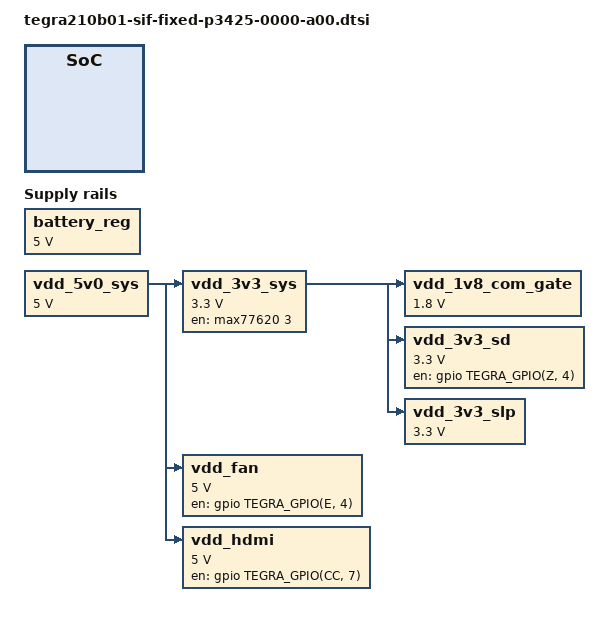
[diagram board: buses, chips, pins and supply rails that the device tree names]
/*
 * Copyright (c) 2018, NVIDIA CORPORATION.  All rights reserved.
 *
 * This program is free software; you can redistribute it and/or modify
 * it under the terms of the GNU General Public License as published by
 * the Free Software Foundation; either version 2 of the License, or
 * (at your option) any later version.
 *
 * This program is distributed in the hope that it will be useful, but WITHOUT
 * ANY WARRANTY; without even the implied warranty of MERCHANTABILITY or
 * FITNESS FOR A PARTICULAR PURPOSE.  See the GNU General Public License for
 * more details.
 *
 * You should have received a copy of the GNU General Public License along
 * with this program; if not, write to the Free Software Foundation, Inc.,
 * 51 Franklin Street, Fifth Floor, Boston, MA  02110-1301, USA.
 */

#include <dt-bindings/gpio/tegra-gpio.h>

/ {
	regulators {
		compatible = "simple-bus";
		device_type = "fixed-regulators";
		#address-cells = <1>;
		#size-cells = <0>;

		battery_reg: regulator@0 {
			compatible = "regulator-fixed";
			reg = <0>;
			regulator-name = "vdd-ac-bat";
			regulator-min-microvolt = <5000000>;
			regulator-max-microvolt = <5000000>;
			regulator-always-on;
		};

		vdd_5v0_sys: regulator@1 { /* DC 5V INPUT */
			compatible = "regulator-fixed-sync";
			reg = <1>;
			regulator-name = "vdd-5v0-sys";
			regulator-min-microvolt = <5000000>;
			regulator-max-microvolt = <5000000>;
		};

		vdd_3v3_sys: regulator@2 {
			compatible = "regulator-fixed-sync";
			reg = <2>;
			regulator-name = "vdd-3v3-sys";
			regulator-min-microvolt = <3300000>;
			regulator-max-microvolt = <3300000>;
			regulator-always-on;
			gpio = <&max77620 3 0>;
			enable-active-high;
			vin-supply = <&vdd_5v0_sys>;
		};

		vdd_1v8_com_gate: regulator@3 {
			compatible = "regulator-fixed-sync";
			reg = <3>;
			regulator-name = "vdd-1v8-com-gate";
			regulator-min-microvolt = <1800000>;
			regulator-max-microvolt = <1800000>;
			vin-supply = <&vdd_3v3_sys>;
		};

		vdd_3v3_sd: regulator@4 {
			compatible = "regulator-fixed-sync";
			reg = <4>;
			regulator-name = "vdd-3v3-sd";
			regulator-min-microvolt = <3300000>;
			regulator-max-microvolt = <3300000>;
			gpio = <&gpio TEGRA_GPIO(Z, 4) 0>;
			enable-active-high;
			vin-supply = <&vdd_3v3_sys>;
		};

		vdd_3v3_slp: regulator@5 {
			compatible = "regulator-fixed-sync";
			reg = <5>;
			regulator-name = "vdd-3v3-slp";
			regulator-min-microvolt = <3300000>;
			regulator-max-microvolt = <3300000>;
			vin-supply = <&vdd_3v3_sys>;
		};

		vdd_fan: regulator@6 {
			compatible = "regulator-fixed-sync";
			reg = <6>;
			regulator-name = "vdd-fan";
			regulator-min-microvolt = <5000000>;
			regulator-max-microvolt = <5000000>;
			gpio = <&gpio TEGRA_GPIO(E, 4) 0>;
			enable-active-high;
			vin-supply = <&vdd_5v0_sys>;
			regulator-enable-ramp-delay = <284>;
			regulator-disable-ramp-delay = <6200>;
		};

		vdd_hdmi: regulator@7 {
			compatible = "regulator-fixed-sync";
			reg = <7>;
			regulator-name = "vdd-hdmi";
			regulator-min-microvolt = <5000000>;
			regulator-max-microvolt = <5000000>;
			gpio = <&gpio TEGRA_GPIO(CC, 7) 0>;
			enable-active-high;
			vin-supply = <&vdd_5v0_sys>;
		};
	};
};
